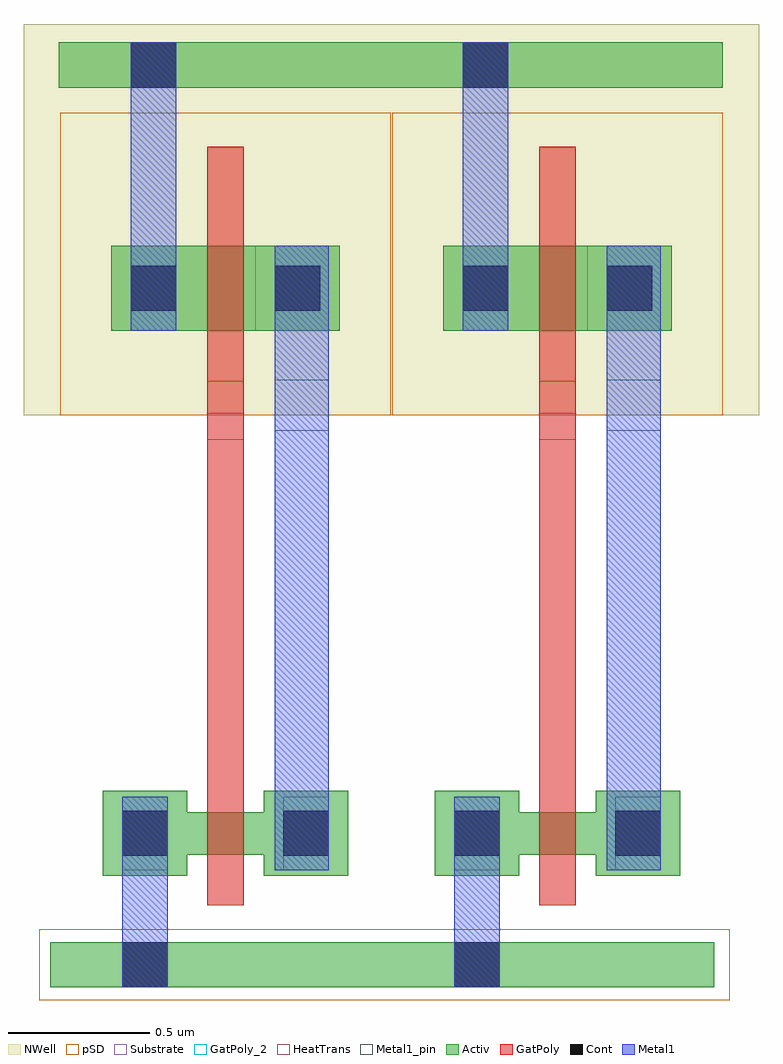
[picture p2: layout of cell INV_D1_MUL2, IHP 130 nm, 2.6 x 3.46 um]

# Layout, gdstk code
import gdstk
lib = gdstk.Library(unit=1e-6, precision=5e-09)
def R(c, l, rs):  # rectangles x0, y0, x1, y1
    for r in rs: c.add(gdstk.rectangle(r[:2], r[2:], *l))
def P(c, l, *ps):  # polygons
    for p in ps: c.add(gdstk.Polygon(p, *l))
Activ = (1, 0)
GatPoly = (5, 0)
GatPoly_2 = (5, 2)
Cont = (6, 0)
Metal1 = (8, 0)
Metal1_pin = (8, 2)
pSD = (14, 0)
NWell = (31, 0)
Substrate = (40, 0)
HeatTrans = (51, 0)

nmos = lib.new_cell('nmos')
R(nmos, Activ, [(0,0,0.3,0.3), (0.57,0,0.87,0.3), (0,0.075,0.87,0.225)])
R(nmos, GatPoly, [(0.37,-0.105,0.5,1.545)])
R(nmos, GatPoly_2, [(0.37,-0.105,0.5,1.545)])
R(nmos, Cont, [(0.07,0.07,0.23,0.23), (0.64,0.07,0.8,0.23)])
R(nmos, Metal1, [(0.07,0.02,0.23,0.28), (0.64,0.02,0.8,0.28)])
R(nmos, Metal1_pin, [(0.07,0.02,0.23,0.28), (0.64,0.02,0.8,0.28)])
R(nmos, HeatTrans, [(0.37,-0.105,0.5,1.545)])
nmos.add(gdstk.Label('nmos', (0.435,0.15), layer=63, texttype=0))
nmos.add(gdstk.Label('nmos', (0.435,0.15), layer=51, texttype=0))

pmos_1 = lib.new_cell('pmos$1')
R(pmos_1, Activ, [(0,1.14,0.3,1.44), (0,1.14,0.81,1.44), (0.51,1.14,0.81,1.44)])
R(pmos_1, GatPoly, [(0.34,0.96,0.47,1.79), (0.34,0.96,0.47,1.79)])
R(pmos_1, Cont, [(0.07,1.21,0.23,1.37), (0.58,1.21,0.74,1.37)])
R(pmos_1, Metal1, [(0.07,1.14,0.23,1.44), (0.07,1.14,0.23,1.44), (0.58,1.14,0.74,1.44)])
P(pmos_1, Metal1, [(0.58,1.14),(0.58,1.44),(0.675,1.44),(0.74,1.44),(0.74,1.14)])
R(pmos_1, pSD, [(-0.18,0.84,0.99,1.91)])
R(pmos_1, NWell, [(-0.31,0.84,1.12,1.92)])
R(pmos_1, Substrate, [(0.51,1.14,0.81,1.44)])
R(pmos_1, HeatTrans, [(0.34,0.96,0.47,1.79)])
pmos_1.add(gdstk.Label('pmos', (0.405,1.29), layer=63, texttype=0))
pmos_1.add(gdstk.Label('pmos', (0.405,1.29), layer=51, texttype=0))

inv_d1 = lib.new_cell('INV_D1')
R(inv_d1, Activ, [(-0.63,-1,0.545,-0.84), (-0.6,2.185,0.575,2.345)])
R(inv_d1, GatPoly, [(-0.075,0.94,0.055,1.145)])
R(inv_d1, GatPoly_2, [(-0.075,1.03,0.055,1.145)])
R(inv_d1, Cont, [(-0.375,-1,-0.215,-0.84), (-0.345,2.185,-0.185,2.345)])
R(inv_d1, Metal1, [(-0.375,-1,-0.215,-0.585), (0.165,-0.585,0.355,1.625), (-0.345,1.625,-0.185,2.345)])
R(inv_d1, Metal1_pin, [(-0.375,-1,-0.215,-0.84), (0.165,0.97,0.355,1.15), (-0.345,2.185,-0.185,2.345)])
R(inv_d1, pSD, [(-0.67,-1.045,0.6,-0.795)])
R(inv_d1, NWell, [(-0.725,2.105,0.705,2.41)])
inv_d1.add(gdstk.Reference(nmos, (-0.445,-0.605)))
inv_d1.add(gdstk.Reference(pmos_1, (-0.415,0.185)))
inv_d1.add(gdstk.Label('VDD', (-0.215,2.32), layer=8, texttype=2))
inv_d1.add(gdstk.Label('VOUT', (0.315,1.115), layer=8, texttype=2))
inv_d1.add(gdstk.Label('VSS', (-0.26,-0.865), layer=8, texttype=2))
inv_d1.add(gdstk.Label('VIN', (0.02,1.13), layer=5, texttype=2))

inv_d1_mul2 = lib.new_cell('INV_D1_MUL2')
inv_d1_mul2.add(gdstk.Reference(inv_d1, (0,0)))
inv_d1_mul2.add(gdstk.Reference(inv_d1, (1.175,0)))

lib.write_gds('INV_D1_MUL2.gds')
